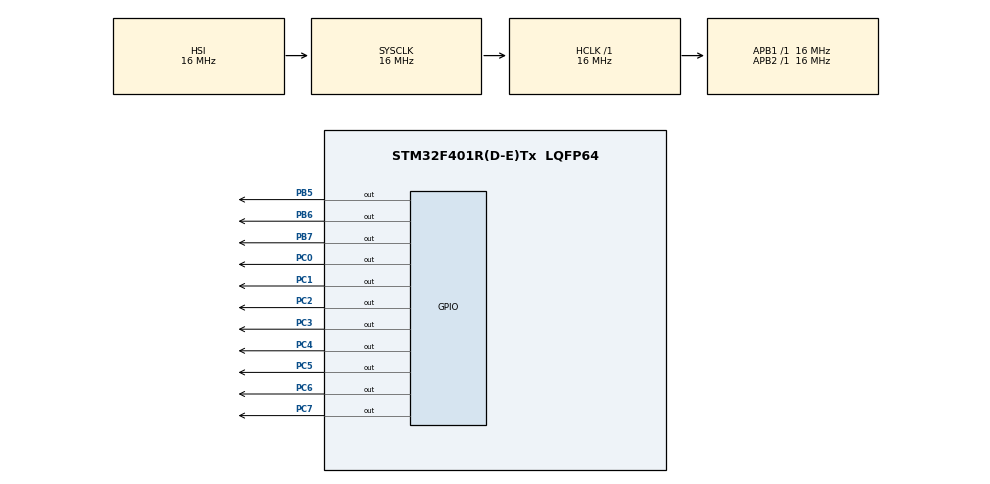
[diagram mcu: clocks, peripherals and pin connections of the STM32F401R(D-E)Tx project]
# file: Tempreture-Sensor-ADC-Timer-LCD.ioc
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Mcu.Family=STM32F4
RCC.CortexFreq_Value=16000000
ADC1.Rank-0\#ChannelRegularConversion=1
VP_ADC1_TempSens_Input.Mode=IN-TempSens
ADC1.ContinuousConvMode=ENABLE
PC4.Signal=GPIO_Output
PC2.Signal=GPIO_Output
PC6.Signal=GPIO_Output
PC0.Signal=GPIO_Output
ProjectManager.StackSize=0x400
NVIC.ADC_IRQn=true\:0\:0\:true\:false\:true\:true\:true
ProjectManager.TargetToolchain=MDK-ARM V5.27
PB6.Signal=GPIO_Output
PC7.Signal=GPIO_Output
PC3.Signal=GPIO_Output
RCC.LSE_VALUE=32768
RCC.AHBFreq_Value=16000000
ADC1.Channel-0\#ChannelRegularConversion=ADC_CHANNEL_TEMPSENSOR
RCC.HSE_VALUE=25000000
board=custom
RCC.VCOOutputFreq_Value=192000000
RCC.APB2Freq_Value=16000000
VP_TIM2_VS_ClockSourceINT.Mode=Internal
PB7.Signal=GPIO_Output
TIM2.Period=16000
Mcu.Name=STM32F401R(D-E)Tx
ADC1.SamplingTime-0\#ChannelRegularConversion=ADC_SAMPLETIME_3CYCLES
ADC1.ExternalTrigConv=ADC_EXTERNALTRIGCONV_T2_TRGO
RCC.SYSCLKFreq_VALUE=16000000
Mcu.Package=LQFP64
PB5.Signal=GPIO_Output
TIM2.Prescaler=1000
ADC1.master=1
ProjectManager.HeapSize=0x200
RCC.HSI_VALUE=16000000
NVIC.PriorityGroup=NVIC_PRIORITYGROUP_4
TIM2.TIM_MasterOutputTrigger=TIM_TRGO_UPDATE
ADC1.NbrOfConversionFlag=1
TIM2.TIM_MasterSlaveMode=TIM_MASTERSLAVEMODE_DISABLE
TIM2.AutoReloadPreload=TIM_AUTORELOAD_PRELOAD_ENABLE
PC5.Signal=GPIO_Output
RCC.APB1Freq_Value=16000000
PC1.Signal=GPIO_Output

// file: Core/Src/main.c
/* USER CODE BEGIN Header */
/**
  ******************************************************************************
  * @file           : main.c
  * @brief          : Main program body
  ******************************************************************************
  * @attention
  *
  * <h2><center>&copy; Copyright (c) 2020 STMicroelectronics.
  * All rights reserved.</center></h2>
  *
  * This software component is licensed by ST under BSD 3-Clause license,
  * the "License"; You may not use this file except in compliance with the
  * License. You may obtain a copy of the License at:
  *                        opensource.org/licenses/BSD-3-Clause
  *
  ******************************************************************************
  */
/* USER CODE END Header */
#include "main.h"

/* USER CODE BEGIN PD */
#define RS GPIO_PIN_5 /* PB5 mask for reg select */
#define RW GPIO_PIN_6 /* PB6 mask for read/write */
#define EN GPIO_PIN_7 /* PB7 mask for enable */
/* USER CODE END PD */

ADC_HandleTypeDef hadc1;

TIM_HandleTypeDef htim2;

/* USER CODE BEGIN PV */
char result[3];
/* USER CODE END PV */

void SystemClock_Config(void);
static void MX_GPIO_Init(void);
static void MX_ADC1_Init(void);
static void MX_TIM2_Init(void);
/* USER CODE BEGIN PFP */
void GPIO_Write_ODR(GPIO_TypeDef *GPIOx, uint16_t data);
void HAL_ADC_ConvCpltCallback(ADC_HandleTypeDef *hadc);
void LCD_command(unsigned char command);
void LCD_data(char data);
void LCD_init(void);
void LCD_puts(char *string);
void delayMs(int n);
/* USER CODE END PFP */

int main(void)
{

  /* MCU Configuration--------------------------------------------------------*/

  /* Reset of all peripherals, Initializes the Flash interface and the Systick. */
  HAL_Init();

  /* Configure the system clock */
  SystemClock_Config();

  /* Initialize all configured peripherals */
  MX_GPIO_Init();
  MX_ADC1_Init();
  MX_TIM2_Init();
  /* USER CODE BEGIN 2 */
  LCD_init();

  HAL_TIM_Base_Start(&htim2);
  HAL_ADC_Start_IT(&hadc1);
  /* USER CODE END 2 */

  /* Infinite loop */
  while (1)
  {

  }
}

void SystemClock_Config(void)
{
  RCC_OscInitTypeDef RCC_OscInitStruct = {0};
  RCC_ClkInitTypeDef RCC_ClkInitStruct = {0};

  /** Configure the main internal regulator output voltage
  */
  __HAL_RCC_PWR_CLK_ENABLE();
  __HAL_PWR_VOLTAGESCALING_CONFIG(PWR_REGULATOR_VOLTAGE_SCALE2);
  /** Initializes the RCC Oscillators according to the specified parameters
  * in the RCC_OscInitTypeDef structure.
  */
  RCC_OscInitStruct.OscillatorType = RCC_OSCILLATORTYPE_HSI;
  RCC_OscInitStruct.HSIState = RCC_HSI_ON;
  RCC_OscInitStruct.HSICalibrationValue = RCC_HSICALIBRATION_DEFAULT;
  RCC_OscInitStruct.PLL.PLLState = RCC_PLL_NONE;
  if (HAL_RCC_OscConfig(&RCC_OscInitStruct) != HAL_OK)
  {
    Error_Handler();
  }
  /** Initializes the CPU, AHB and APB buses clocks
  */
  RCC_ClkInitStruct.ClockType = RCC_CLOCKTYPE_HCLK | RCC_CLOCKTYPE_SYSCLK | RCC_CLOCKTYPE_PCLK1 | RCC_CLOCKTYPE_PCLK2;
  RCC_ClkInitStruct.SYSCLKSource = RCC_SYSCLKSOURCE_HSI;
  RCC_ClkInitStruct.AHBCLKDivider = RCC_SYSCLK_DIV1;
  RCC_ClkInitStruct.APB1CLKDivider = RCC_HCLK_DIV1;
  RCC_ClkInitStruct.APB2CLKDivider = RCC_HCLK_DIV1;

  if (HAL_RCC_ClockConfig(&RCC_ClkInitStruct, FLASH_LATENCY_0) != HAL_OK)
  {
    Error_Handler();
  }
}

static void MX_ADC1_Init(void)
{

  ADC_ChannelConfTypeDef sConfig = {0};

  /** Configure the global features of the ADC (Clock, Resolution, Data Alignment and number of conversion)
  */
  hadc1.Instance = ADC1;
  hadc1.Init.ClockPrescaler = ADC_CLOCK_SYNC_PCLK_DIV2;
  hadc1.Init.Resolution = ADC_RESOLUTION_12B;
  hadc1.Init.ScanConvMode = DISABLE;
  hadc1.Init.ContinuousConvMode = ENABLE;
  hadc1.Init.DiscontinuousConvMode = DISABLE;
  hadc1.Init.ExternalTrigConvEdge = ADC_EXTERNALTRIGCONVEDGE_RISING;
  hadc1.Init.ExternalTrigConv = ADC_EXTERNALTRIGCONV_T2_TRGO;
  hadc1.Init.DataAlign = ADC_DATAALIGN_RIGHT;
  hadc1.Init.NbrOfConversion = 1;
  hadc1.Init.DMAContinuousRequests = DISABLE;
  hadc1.Init.EOCSelection = ADC_EOC_SINGLE_CONV;
  if (HAL_ADC_Init(&hadc1) != HAL_OK)
  {
    Error_Handler();
  }
  /** Configure for the selected ADC regular channel its corresponding rank in the sequencer and its sample time.
  */
  sConfig.Channel = ADC_CHANNEL_TEMPSENSOR;
  sConfig.Rank = 1;
  sConfig.SamplingTime = ADC_SAMPLETIME_3CYCLES;
  if (HAL_ADC_ConfigChannel(&hadc1, &sConfig) != HAL_OK)
  {
    Error_Handler();
  }
}

static void MX_TIM2_Init(void)
{

  TIM_ClockConfigTypeDef sClockSourceConfig = {0};
  TIM_MasterConfigTypeDef sMasterConfig = {0};

  htim2.Instance = TIM2;
  htim2.Init.Prescaler = 1000;
  htim2.Init.CounterMode = TIM_COUNTERMODE_UP;
  htim2.Init.Period = 16000;
  htim2.Init.ClockDivision = TIM_CLOCKDIVISION_DIV1;
  htim2.Init.AutoReloadPreload = TIM_AUTORELOAD_PRELOAD_ENABLE;
  if (HAL_TIM_Base_Init(&htim2) != HAL_OK)
  {
    Error_Handler();
  }
  sClockSourceConfig.ClockSource = TIM_CLOCKSOURCE_INTERNAL;
  if (HAL_TIM_ConfigClockSource(&htim2, &sClockSourceConfig) != HAL_OK)
  {
    Error_Handler();
  }
  sMasterConfig.MasterOutputTrigger = TIM_TRGO_UPDATE;
  sMasterConfig.MasterSlaveMode = TIM_MASTERSLAVEMODE_DISABLE;
  if (HAL_TIMEx_MasterConfigSynchronization(&htim2, &sMasterConfig) != HAL_OK)
  {
    Error_Handler();
  }
}

static void MX_GPIO_Init(void)
{
  GPIO_InitTypeDef GPIO_InitStruct = {0};

  /* GPIO Ports Clock Enable */
  __HAL_RCC_GPIOC_CLK_ENABLE();
  __HAL_RCC_GPIOB_CLK_ENABLE();

  /*Configure GPIO pin Output Level */
  HAL_GPIO_WritePin(GPIOC, GPIO_PIN_0 | GPIO_PIN_1 | GPIO_PIN_2 | GPIO_PIN_3 | GPIO_PIN_4 | GPIO_PIN_5 | GPIO_PIN_6 | GPIO_PIN_7, GPIO_PIN_RESET);

  /*Configure GPIO pin Output Level */
  HAL_GPIO_WritePin(GPIOB, GPIO_PIN_5 | GPIO_PIN_6 | GPIO_PIN_7, GPIO_PIN_RESET);

  /*Configure GPIO pins : PC0 PC1 PC2 PC3
                           PC4 PC5 PC6 PC7 */
  GPIO_InitStruct.Pin = GPIO_PIN_0 | GPIO_PIN_1 | GPIO_PIN_2 | GPIO_PIN_3 | GPIO_PIN_4 | GPIO_PIN_5 | GPIO_PIN_6 | GPIO_PIN_7;
  GPIO_InitStruct.Mode = GPIO_MODE_OUTPUT_PP;
  GPIO_InitStruct.Pull = GPIO_NOPULL;
  GPIO_InitStruct.Speed = GPIO_SPEED_FREQ_LOW;
  HAL_GPIO_Init(GPIOC, &GPIO_InitStruct);

  /*Configure GPIO pins : PB5 PB6 PB7 */
  GPIO_InitStruct.Pin = GPIO_PIN_5 | GPIO_PIN_6 | GPIO_PIN_7;
  GPIO_InitStruct.Mode = GPIO_MODE_OUTPUT_PP;
  GPIO_InitStruct.Pull = GPIO_NOPULL;
  GPIO_InitStruct.Speed = GPIO_SPEED_FREQ_LOW;
  HAL_GPIO_Init(GPIOB, &GPIO_InitStruct);
}

/* USER CODE BEGIN 4 */
void GPIO_Write_ODR(GPIO_TypeDef *GPIOx, uint16_t data)
{
  uint8_t i = 0;
  uint8_t mask = 1;
  for (; i < 16; i++)
  {
    if ((mask & data) == 0)
    {
      HAL_GPIO_WritePin(GPIOx, 1 << i, GPIO_PIN_RESET);
    }
    else
    {
      HAL_GPIO_WritePin(GPIOx, 1 << i, GPIO_PIN_SET);
    }
    mask = mask << 1;
  }
}
void HAL_ADC_ConvCpltCallback(ADC_HandleTypeDef *hadc)
{
  double ADC_value = (double)HAL_ADC_GetValue(&hadc1);
  double tempereture = ((ADC_value) / 4095 * 3.3 - 0.76) / 0.0025 + 25;
  sprintf(result, "%.1lf", tempereture);
  LCD_command(1);
  LCD_puts("Temperature: ");
  LCD_command(0xC0);
  LCD_puts(result);
}

void LCD_init(void)
{
  delayMs(30); /* initialization sequence */
  LCD_command(0x30);
  delayMs(10);
  LCD_command(0x30);
  delayMs(1);
  LCD_command(0x30);
  LCD_command(0x38); /* set 8-bit data, 2-line, 5x7 font */
  LCD_command(0x06); /* move cursor right after each char */
  LCD_command(0x01); /* clear screen, move cursor to home */
  LCD_command(0x0F); /* turn on display, cursor blinking */
	LCD_command(0x0E);
  LCD_command(0x0C);
}

void LCD_command(unsigned char command)
{
  /* RS = 0, R/W = 0 */
  HAL_GPIO_WritePin(GPIOB, RS, GPIO_PIN_RESET);
  HAL_GPIO_WritePin(GPIOB, RW, GPIO_PIN_RESET);
  GPIO_Write_ODR(GPIOC, command);             /* put command on data bus */
  HAL_GPIO_WritePin(GPIOB, EN, GPIO_PIN_SET); /* pulse E high */
  delayMs(1);
  HAL_GPIO_WritePin(GPIOB, EN, GPIO_PIN_RESET); /* clear E */
  if (command < 4)
    delayMs(2); /* command 1 and 2 needs up to 1.64ms */
  else
    delayMs(1); /* all others 40 us */
}

void LCD_data(char data)
{
  HAL_GPIO_WritePin(GPIOB, RS, GPIO_PIN_SET);   /* RS = 1 */
  HAL_GPIO_WritePin(GPIOB, RW, GPIO_PIN_RESET); /* R/W = 0 */
  GPIO_Write_ODR(GPIOC, data);                  /* put data on data bus */
  HAL_GPIO_WritePin(GPIOB, EN, GPIO_PIN_SET);   /* pulse E high */
  delayMs(1);
  HAL_GPIO_WritePin(GPIOB, EN, GPIO_PIN_RESET); /* clear E */
  delayMs(1);
}

void LCD_puts(char *string)
{
  uint8_t i = 0;
  while (string[i] != '\0')
  {
    LCD_data(string[i]);
    i++;
  }
}

/* delay n milliseconds (16 MHz CPU clock) */
void delayMs(int n)
{
  int i;
  for (; n > 0; n--)
    for (i = 0; i < 3195; i++)
      ;
}
/* USER CODE END 4 */

void Error_Handler(void)
{
}

/************************ (C) COPYRIGHT STMicroelectronics *****END OF FILE****/
